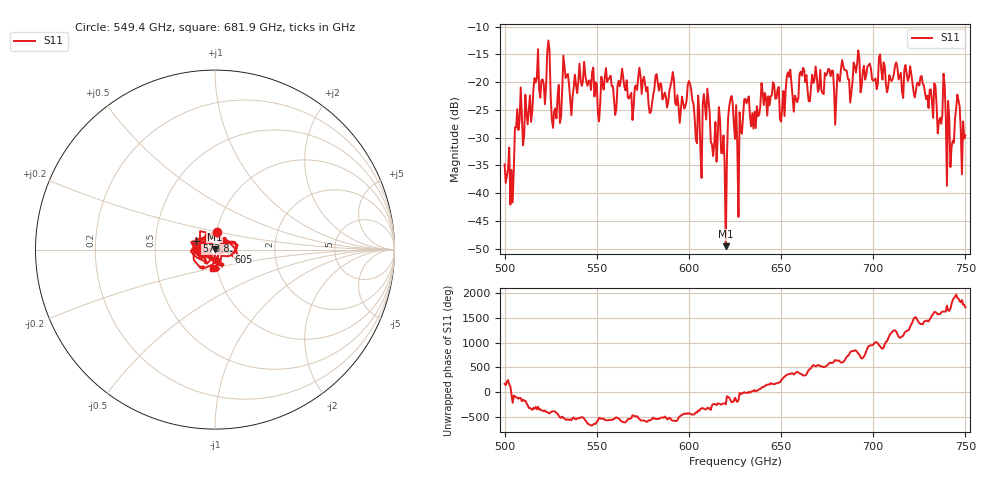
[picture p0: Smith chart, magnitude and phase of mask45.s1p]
!Created with skrf (http://scikit-rf.org).
# GHz S MA R 50.0
!freq magS11 angS11
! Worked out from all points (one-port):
!   401 points, 500 GHz to 750 GHz, reference 50 ohm
!   lowest |S11| = -49.5 dB at 620 GHz (marker M1), VSWR 1.01, Z = 49.8 + j0.295 ohm
!   |S11| at or under -10 dB: start of sweep to end of sweep
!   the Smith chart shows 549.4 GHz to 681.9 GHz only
!   S11 on the Smith chart (normalised r, x): 549.4 GHz: 1.00, +0.20; 573.8 GHz: 0.81, +0.08; 605 GHz: 1.16, -0.02; 681.9 GHz: 0.96, -0.20
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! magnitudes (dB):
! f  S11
! 500 GHz  -34.8
! 503.8 GHz  -35.8
! 507.5 GHz  -28.6
! 513.8 GHz  -22.4
! 516.9 GHz  -20.1
! 523.8 GHz  -12.5
! 526.9 GHz  -25.3
! 531.2 GHz  -21.5
! 549.4 GHz  -20.0
! 562.5 GHz  -20.7
! 573.8 GHz  -18.9
! 593.8 GHz  -22.3
! 600.6 GHz  -20.3
! 605 GHz  -22.4
! 609.4 GHz  -26.7
! 620 GHz  -49.5
! 622.5 GHz  -23.2
! 625 GHz  -30.2
! 627.5 GHz  -25.4
! 631.2 GHz  -23.8
! 656.2 GHz  -22.6
! 681.9 GHz  -19.8
! 687.5 GHz  -23.7
! 718.8 GHz  -19.8
! 738.1 GHz  -18.5
! 741.2 GHz  -26.4
! 745.6 GHz  -22.3
! 750 GHz  -29.6
